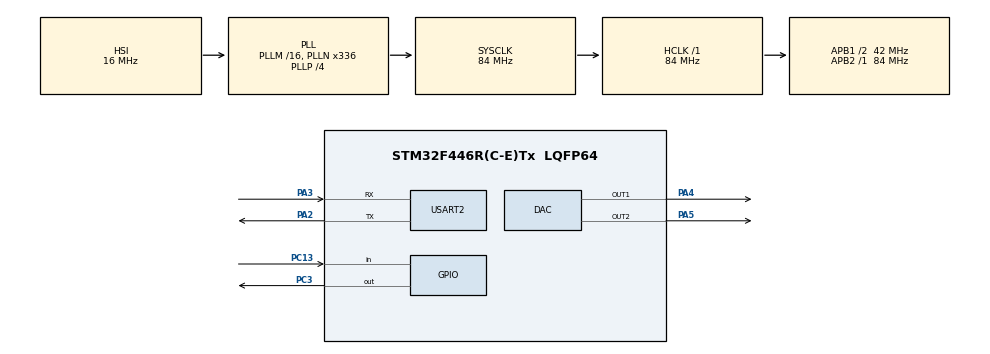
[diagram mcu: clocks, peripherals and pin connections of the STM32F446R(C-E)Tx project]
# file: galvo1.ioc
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Dma.Request0=USART2_RX
Dma.USART2_RX.0.Direction=DMA_PERIPH_TO_MEMORY
Dma.USART2_RX.0.FIFOMode=DMA_FIFOMODE_DISABLE
Dma.USART2_RX.0.Instance=DMA1_Stream5
Dma.USART2_RX.0.MemDataAlignment=DMA_MDATAALIGN_BYTE
Dma.USART2_RX.0.MemInc=DMA_MINC_ENABLE
Dma.USART2_RX.0.Mode=DMA_CIRCULAR
Dma.USART2_RX.0.PeriphDataAlignment=DMA_PDATAALIGN_BYTE
Dma.USART2_RX.0.PeriphInc=DMA_PINC_DISABLE
Dma.USART2_RX.0.Priority=DMA_PRIORITY_LOW
Mcu.Family=STM32F4
Mcu.Name=STM32F446R(C-E)Tx
Mcu.Package=LQFP64
NVIC.DMA1_Stream5_IRQn=true\:0\:0\:false\:false\:true\:false\:true
NVIC.PriorityGroup=NVIC_PRIORITYGROUP_0
NVIC.USART2_IRQn=true\:0\:0\:false\:false\:true\:true\:true
PA2.Mode=Asynchronous
PA2.Signal=USART2_TX
PA3.Mode=Asynchronous
PA3.Signal=USART2_RX
PA4.Signal=COMP_DAC1_group
PA5.Signal=COMP_DAC2_group
PC13.Signal=GPIO_Input
PC3.Signal=GPIO_Output
ProjectManager.HeapSize=0x200
ProjectManager.StackSize=0x400
ProjectManager.TargetToolchain=MDK-ARM V5
RCC.48MHZClocksFreq_Value=84000000
RCC.AHBFreq_Value=84000000
RCC.APB1CLKDivider=RCC_HCLK_DIV2
RCC.APB1Freq_Value=42000000
RCC.APB1TimFreq_Value=84000000
RCC.APB2Freq_Value=84000000
RCC.APB2TimFreq_Value=84000000
RCC.CortexFreq_Value=84000000
RCC.FLatency-AdvancedSettings=FLASH_LATENCY_2
RCC.HCLKFreq_Value=84000000
RCC.HSE_VALUE=8000000
RCC.HSI_VALUE=16000000
RCC.PLLN=336
RCC.PLLP=RCC_PLLP_DIV4
RCC.SYSCLKFreq_VALUE=84000000
RCC.SYSCLKSource=RCC_SYSCLKSOURCE_PLLCLK
RCC.USBFreq_Value=168000000
RCC.VCOOutputFreq_Value=336000000
SH.COMP_DAC1_group.0=DAC_OUT1,DAC_OUT1
SH.COMP_DAC2_group.0=DAC_OUT2,DAC_OUT2
USART2.VirtualMode=VM_ASYNC
board=NUCLEO-F446RE

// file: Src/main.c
/* USER CODE BEGIN Header */
/**
  ******************************************************************************
  * @file           : main.c
  * @brief          : Main program body
  ******************************************************************************
  * @attention
  *
  * <h2><center>&copy; Copyright (c) 2019 STMicroelectronics.
  * All rights reserved.</center></h2>
  *
  * This software component is licensed by ST under BSD 3-Clause license,
  * the "License"; You may not use this file except in compliance with the
  * License. You may obtain a copy of the License at:
  *                        opensource.org/licenses/BSD-3-Clause
  *
  ******************************************************************************
  */
/* USER CODE END Header */

#include "main.h"

/* USER CODE BEGIN Includes */
#include <stdbool.h>// for bool type
#include <string.h> // for string
#include <math.h>
#include <stdio.h>// sprintf
#include <assert.h>
/* USER CODE END Includes */

DAC_HandleTypeDef hdac;

UART_HandleTypeDef huart2;
DMA_HandleTypeDef hdma_usart2_rx;

/* USER CODE BEGIN PV */
  double valVolt1 = 3.2;//voltage of dac1
	double valVolt2 = 2.2;//voltage of dac2
	uint32_t valByte1;//number of dac1
	uint32_t valByte2;//number of dac2
	bool laser_on = 0;
	float e = 10;  // distance betweeen two mirrors 10 mm
  float d = 200;  // distance between mirror and powder bed 200 mm
  int exptime = 100; // us
  int pointdis = 500; // um
  int hatchdis = 500; // um
/* USER CODE END PV */

void SystemClock_Config(void);
static void MX_GPIO_Init(void);
static void MX_DMA_Init(void);
static void MX_USART2_UART_Init(void);
static void MX_DAC_Init(void);
/* USER CODE BEGIN PFP */
char myRxData[30];//uart received data
//char ch[4];// temp vx and vy
char myTxData[30]="Hello ";// for test
#define MAX_RECV_LEN 100 // maximum received data length
char msg_buff[MAX_RECV_LEN] = {0};// received data buffer
char *msg = msg_buff; //a pointer of data buffer
int flag = false; //receive finish flag
int len = 0; //received data length

char *data;
char *p;
char *p1;
char *p2;
char *x1;
char *x2;
char *y1;
char *y2;
int fputc(int ch, FILE *f) // used for printf
{
    HAL_UART_Transmit_IT(&huart2, (uint8_t *)&ch, 1);
    HAL_Delay(1);
    return 0;
}

// self atof
int is_digit(char ch)
{
	if(ch>='0'&&ch<='9')
		return 1;
	else
		return 0;
}
int is_space(char ch)
{
	if(ch==' ')
		return 1;
	else
		return 0;
}
double atof(char *s)
{
	double power,value;
	int i,sign;
	assert(s!=NULL);//?????????
	for(i=0;is_space(s[i]);i++);//?????????
	sign=(s[i]=='-')?-1:1;
	if(s[i]=='-'||s[i]=='+')//???????????
		i++;
	for(value=0.0;is_digit(s[i]);i++)//?????????
		value=value*10.0+(s[i]-'0');
	if(s[i]=='.')
		i++;
	for(power=1.0;is_digit(s[i]);i++)//?????????
	{
		value=value*10.0+(s[i]-'0');
		power*=10.0;
	}
	return sign*value/power;
}

void laserpoint(double x, double y) {
	double dx = atan(x / (e + sqrt(d * d + y * y))) * 180 / 3.1415926 / 2;  // degree of the mirror
	double dy = atan(y / d) * 180 / 3.1415926 / 2;  // degree of the mirror
	int  vx = 4096 * (dx * 5 / 30 / 3.3) ; // degree number of the mirror, 5V is galvo 30 degree
	int  vy = 4096 * (dy * 5 / 30 / 3.3) ; // degree number of the mirror

	printf("x = %f\r\n",x);
	//printf("vx = %d\r\n",vx);
	printf("y = %f\r\n",y);
	//printf("vx = %d\r\n",vy);
	HAL_DAC_SetValue(&hdac,DAC1_CHANNEL_1, DAC_ALIGN_12B_R, vx);//set number of dac1
	HAL_DAC_SetValue(&hdac,DAC1_CHANNEL_2, DAC_ALIGN_12B_R, vy);//set number of dac1
}

void drawline(double x1, double y1, double x2, double y2)
{
	int pointNum;
  pointNum = 	sqrt((x2 -x1) * (x2 - x1) +  (y2 -y1) * (y2 - y1)) * 10000 / pointdis;
	for (int i = 0; i <= pointNum; i++)
	{
		double x = x1 + i * (x2 - x1) / pointNum ;
		double y = y1 + i * (y2 - y1) / pointNum;

		laser_on = 1;
		laserpoint(x, y);
		//HAL_Delay(exptime);
		laser_on = 0;

	}

}

void drawcube(double x0, double y0, double dx, double dy)
{
	for (int i = 0; i <= 1000 * dx / hatchdis; i++) {
		for (int j = 0; j <= 1000 * dy / pointdis; j++) {
			double fi = i;
			double fj = j;

			if (i % 2) {
				double x1 = x0 + fi * hatchdis / 1000;
				double y1 = y0 + fj * pointdis / 1000;
				laser_on = 1;;
				laserpoint(x1, y1);
				//HAL_Delay(5);
				laser_on = 0;;
			}
			else {
				double x1 = x0 + fi * hatchdis / 1000;
				double y1 = dy - fj * pointdis / 1000;
				laser_on = 1;
				laserpoint(x1, y1);
				//HAL_Delay(5);
				laser_on = 0;
			}
		}
	}
}

/* USER CODE END PFP */

int main(void)
{

  /* MCU Configuration--------------------------------------------------------*/

  /* Reset of all peripherals, Initializes the Flash interface and the Systick. */
  HAL_Init();

  /* Configure the system clock */
  SystemClock_Config();

  /* Initialize all configured peripherals */
  MX_GPIO_Init();
  MX_DMA_Init();
  MX_USART2_UART_Init();
  MX_DAC_Init();
  /* USER CODE BEGIN 2 */
	valByte1 = (uint32_t)((valVolt1 / 3.3)*4096);//number of dac1
	valByte2 = (uint32_t)((valVolt2 / 3.3)*4096);//number of dac2
  HAL_DAC_Start(&hdac,DAC_CHANNEL_1);//start of dac1
	HAL_DAC_Start(&hdac,DAC_CHANNEL_2);//start of dac1
	HAL_DAC_SetValue(&hdac,DAC1_CHANNEL_1, DAC_ALIGN_12B_R, 0);//set initional number of dac1
	HAL_DAC_SetValue(&hdac,DAC1_CHANNEL_2, DAC_ALIGN_12B_R, 0);//set initional number of dac2
	//HAL_UART_Receive_DMA(&huart2,(uint8_t *)myRxData,3);//uart received data saved to myRxData
	//HAL_UART_Receive_IT(&huart2,(uint8_t *)&myRxData,1);//???????????,?????????????????value?,??????????????????????????????????????
   HAL_UART_Receive_IT(&huart2, (uint8_t *)msg, 1);
	/* USER CODE END 2 */

  /* Infinite loop */
  /* USER CODE BEGIN WHILE */
  while (1)
  {
			if(laser_on == 1)
			{
				 HAL_GPIO_WritePin(GPIOC,GPIO_PIN_3,GPIO_PIN_SET);
			}
			else if(laser_on == 0)
			{
				 HAL_GPIO_WritePin(GPIOC,GPIO_PIN_3,GPIO_PIN_RESET);
			}

			if (flag == true) // get serial command
			{
				printf("command received: %s length of command = %d\r\n",msg_buff,len-2); // print serial command

				if(msg_buff[0] == '#')
				 {
				    // character array to string
						int i;
						data = (char *)malloc(len - 1);// release me
						for(i=0;i<len-2;i++)
						{
								data[i] = msg_buff[i];
						}
						data[len] = '\0';

						// first split by "="
						p = strtok(data,"=");
						if(p) p1 = p;
						p = strtok(NULL, "=");
						if(p) p2 = p;
						if (strcmp(p1,"#line") == 0)
						{
							  // second split by ","
								p = strtok(p2,",");
								if(p) x1 = p;
								p = strtok(NULL, ",");
								if(p) y1 = p;
								p = strtok(NULL, ",");
								if(p) x2 = p;
								p = strtok(NULL, ",");
								if(p) y2 = p;

                // 	string to double
								double x_1;
								double y_1;
								double x_2;
								double y_2;
								x_1 = atof(x1);
								y_1 = atof(y1);
								x_2 = atof(x2);
								y_2 = atof(y2);
								printf("x1 = %f y1 = %f\r\n",x_1,y_1);
								printf("x2 = %f y2 = %f\r\n",x_2,y_2);
								drawline(x_1,y_1,x_2,y_2); // draw line
								printf("LINE_OK\r\n");
						}
						//free(data);

				  }
					else if(msg_buff[0] == 'a')
				  {

						drawcube(0,0,5,5);
						HAL_DAC_SetValue(&hdac,DAC1_CHANNEL_1, DAC_ALIGN_12B_R, valByte1);//set 2.2v number of dac1
						HAL_DAC_SetValue(&hdac,DAC1_CHANNEL_2, DAC_ALIGN_12B_R, valByte2);//set 2.2v number of dac1
					}
				  else if(msg_buff[0] == 'b')
				  {
						HAL_DAC_SetValue(&hdac,DAC1_CHANNEL_1, DAC_ALIGN_12B_R, 0);//set 0 number of dac1
						HAL_DAC_SetValue(&hdac,DAC1_CHANNEL_2, DAC_ALIGN_12B_R, 0);//set 0 number of dac1
					}

				 memset(msg_buff, 0, sizeof(msg_buff));   //clear the buffer
				 msg = msg_buff;			 // point to the head of buffer
				(&huart2)->pRxBuffPtr = (uint8_t *)msg;
				 flag = false;
				 len = 0;

			 }
			 HAL_Delay(10);

    /* USER CODE END WHILE */

  }
}

void SystemClock_Config(void)
{
  RCC_OscInitTypeDef RCC_OscInitStruct = {0};
  RCC_ClkInitTypeDef RCC_ClkInitStruct = {0};

  /** Configure the main internal regulator output voltage
  */
  __HAL_RCC_PWR_CLK_ENABLE();
  __HAL_PWR_VOLTAGESCALING_CONFIG(PWR_REGULATOR_VOLTAGE_SCALE3);
  /** Initializes the CPU, AHB and APB busses clocks
  */
  RCC_OscInitStruct.OscillatorType = RCC_OSCILLATORTYPE_HSI;
  RCC_OscInitStruct.HSIState = RCC_HSI_ON;
  RCC_OscInitStruct.HSICalibrationValue = RCC_HSICALIBRATION_DEFAULT;
  RCC_OscInitStruct.PLL.PLLState = RCC_PLL_ON;
  RCC_OscInitStruct.PLL.PLLSource = RCC_PLLSOURCE_HSI;
  RCC_OscInitStruct.PLL.PLLM = 16;
  RCC_OscInitStruct.PLL.PLLN = 336;
  RCC_OscInitStruct.PLL.PLLP = RCC_PLLP_DIV4;
  RCC_OscInitStruct.PLL.PLLQ = 2;
  RCC_OscInitStruct.PLL.PLLR = 2;
  if (HAL_RCC_OscConfig(&RCC_OscInitStruct) != HAL_OK)
  {
    Error_Handler();
  }
  /** Initializes the CPU, AHB and APB busses clocks
  */
  RCC_ClkInitStruct.ClockType = RCC_CLOCKTYPE_HCLK|RCC_CLOCKTYPE_SYSCLK
                              |RCC_CLOCKTYPE_PCLK1|RCC_CLOCKTYPE_PCLK2;
  RCC_ClkInitStruct.SYSCLKSource = RCC_SYSCLKSOURCE_PLLCLK;
  RCC_ClkInitStruct.AHBCLKDivider = RCC_SYSCLK_DIV1;
  RCC_ClkInitStruct.APB1CLKDivider = RCC_HCLK_DIV2;
  RCC_ClkInitStruct.APB2CLKDivider = RCC_HCLK_DIV1;

  if (HAL_RCC_ClockConfig(&RCC_ClkInitStruct, FLASH_LATENCY_2) != HAL_OK)
  {
    Error_Handler();
  }
}

static void MX_DAC_Init(void)
{

  DAC_ChannelConfTypeDef sConfig = {0};

  /** DAC Initialization
  */
  hdac.Instance = DAC;
  if (HAL_DAC_Init(&hdac) != HAL_OK)
  {
    Error_Handler();
  }
  /** DAC channel OUT1 config
  */
  sConfig.DAC_Trigger = DAC_TRIGGER_NONE;
  sConfig.DAC_OutputBuffer = DAC_OUTPUTBUFFER_ENABLE;
  if (HAL_DAC_ConfigChannel(&hdac, &sConfig, DAC_CHANNEL_1) != HAL_OK)
  {
    Error_Handler();
  }
  /** DAC channel OUT2 config
  */
  if (HAL_DAC_ConfigChannel(&hdac, &sConfig, DAC_CHANNEL_2) != HAL_OK)
  {
    Error_Handler();
  }

}

static void MX_USART2_UART_Init(void)
{

  huart2.Instance = USART2;
  huart2.Init.BaudRate = 115200;
  huart2.Init.WordLength = UART_WORDLENGTH_8B;
  huart2.Init.StopBits = UART_STOPBITS_1;
  huart2.Init.Parity = UART_PARITY_NONE;
  huart2.Init.Mode = UART_MODE_TX_RX;
  huart2.Init.HwFlowCtl = UART_HWCONTROL_NONE;
  huart2.Init.OverSampling = UART_OVERSAMPLING_16;
  if (HAL_UART_Init(&huart2) != HAL_OK)
  {
    Error_Handler();
  }

}

static void MX_DMA_Init(void)
{
  /* DMA controller clock enable */
  __HAL_RCC_DMA1_CLK_ENABLE();

  /* DMA interrupt init */
  /* DMA1_Stream5_IRQn interrupt configuration */
  HAL_NVIC_SetPriority(DMA1_Stream5_IRQn, 0, 0);
  HAL_NVIC_EnableIRQ(DMA1_Stream5_IRQn);

}

static void MX_GPIO_Init(void)
{
  GPIO_InitTypeDef GPIO_InitStruct = {0};

  /* GPIO Ports Clock Enable */
  __HAL_RCC_GPIOC_CLK_ENABLE();
  __HAL_RCC_GPIOA_CLK_ENABLE();

  /*Configure GPIO pin Output Level */
  HAL_GPIO_WritePin(GPIOC, GPIO_PIN_3, GPIO_PIN_RESET);

  /*Configure GPIO pin : PC13 */
  GPIO_InitStruct.Pin = GPIO_PIN_13;
  GPIO_InitStruct.Mode = GPIO_MODE_INPUT;
  GPIO_InitStruct.Pull = GPIO_NOPULL;
  HAL_GPIO_Init(GPIOC, &GPIO_InitStruct);

  /*Configure GPIO pin : PC3 */
  GPIO_InitStruct.Pin = GPIO_PIN_3;
  GPIO_InitStruct.Mode = GPIO_MODE_OUTPUT_PP;
  GPIO_InitStruct.Pull = GPIO_NOPULL;
  GPIO_InitStruct.Speed = GPIO_SPEED_FREQ_LOW;
  HAL_GPIO_Init(GPIOC, &GPIO_InitStruct);

}

/* USER CODE BEGIN 4 */

void HAL_UART_RxCpltCallback(UART_HandleTypeDef *huart)
{
  /* Prevent unused argument(s) compilation warning */
  UNUSED(huart);
  /* NOTE: This function should not be modified, when the callback is needed,
           the HAL_UART_RxCpltCallback could be implemented in the user file
   */
    uint8_t ret = HAL_OK;
    msg++;
	  len++;
    if( msg == msg_buff + MAX_RECV_LEN)
    {
        msg = msg_buff;
     }
     do
    {
        ret = HAL_UART_Receive_IT(&huart2,(uint8_t *)msg,1);
		}while(ret != HAL_OK);

    if(*(msg-1) == '\n')   // receive finish
     {
        flag  = true;
     }
    if(flag == true)
		{

		}

}
/* USER CODE END 4 */

void Error_Handler(void)
{
}

/************************ (C) COPYRIGHT STMicroelectronics *****END OF FILE****/
